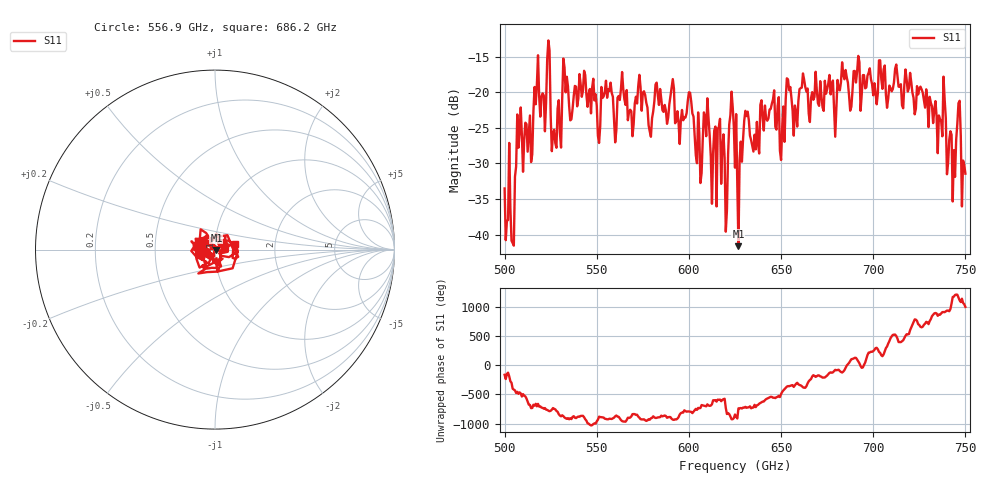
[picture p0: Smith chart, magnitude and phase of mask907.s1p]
!Created with skrf (http://scikit-rf.org).
# GHz S MA R 50.0
!freq magS11 angS11
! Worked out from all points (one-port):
!   401 points, 500 GHz to 750 GHz, reference 50 ohm
!   lowest |S11| = -41.6 dB at 626.9 GHz (marker M1), VSWR 1.02, Z = 50.8 - j0.246 ohm
!   |S11| at or under -10 dB: start of sweep to end of sweep
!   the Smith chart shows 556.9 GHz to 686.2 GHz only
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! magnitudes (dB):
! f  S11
! 500 GHz  -33.5
! 504.4 GHz  -41.2
! 507.5 GHz  -27.8
! 513.8 GHz  -23.3
! 517.5 GHz  -19.0
! 523.8 GHz  -12.7
! 526.9 GHz  -25.3
! 531.2 GHz  -20.8
! 562.5 GHz  -21.1
! 579.4 GHz  -26.3
! 590.6 GHz  -19.5
! 593.8 GHz  -22.7
! 600.6 GHz  -20.1
! 605.6 GHz  -25.8
! 609.4 GHz  -26.2
! 620 GHz  -39.6
! 623.1 GHz  -19.9
! 625 GHz  -30.6
! 626.9 GHz  -41.6
! 631.2 GHz  -23.4
! 635 GHz  -28.3
! 656.2 GHz  -22.6
! 687.5 GHz  -22.6
! 718.8 GHz  -19.9
! 738.1 GHz  -17.8
! 743.8 GHz  -28.1
! 746.2 GHz  -21.5
! 750 GHz  -31.4
